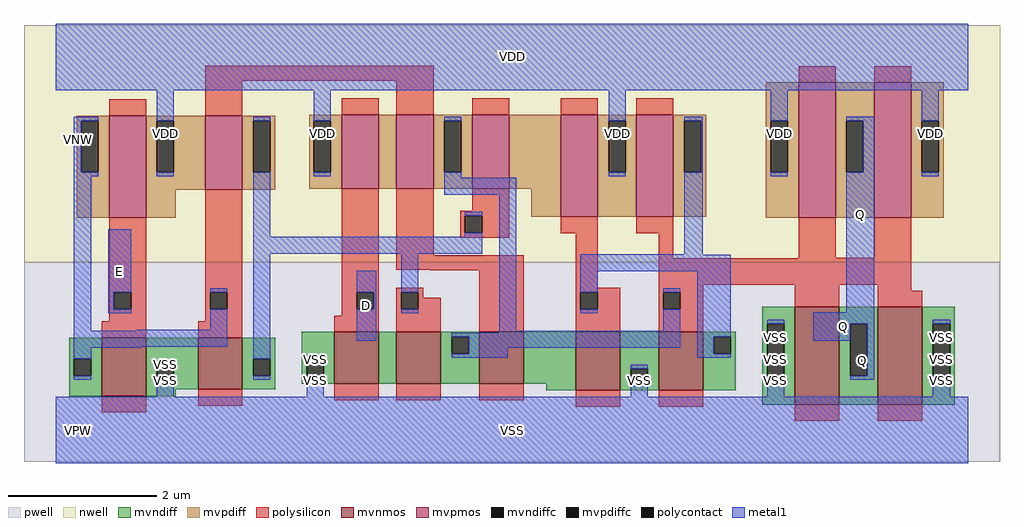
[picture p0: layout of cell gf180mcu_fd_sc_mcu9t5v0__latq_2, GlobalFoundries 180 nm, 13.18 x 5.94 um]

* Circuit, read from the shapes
.subckt gf180mcu_fd_sc_mcu9t5v0__latq_2 D E Q VDD VNW VPW VSS
XM1 VSS E n1 VPW nfet_06v0 w=0.79u l=0.6u
XM2 n2 n1 VSS VPW nfet_06v0 w=0.7u l=0.6u
XM3 n3 D VSS VPW nfet_06v0 w=0.7u l=0.6u
XM4 n4 n2 n3 VPW nfet_06v0 w=0.7u l=0.6u
XM5 n5 n1 n4 VPW nfet_06v0 w=0.7u l=0.6u
XM6 VSS n6 n5 VPW nfet_06v0 w=0.79u l=0.6u
XM7 n6 n4 VSS VPW nfet_06v0 w=0.79u l=0.6u
XM8 Q n4 VSS VPW nfet_06v0 w=1.32u l=0.6u m=2
XM9 VDD E n1 VNW pfet_06v0 w=1.38u l=0.5u
XM10 n2 n1 VDD VNW pfet_06v0 w=1u l=0.5u
XM11 n7 D VDD VNW pfet_06v0 w=1u l=0.5u
XM12 n4 n1 n7 VNW pfet_06v0 w=1u l=0.5u
XM13 n8 n2 n4 VNW pfet_06v0 w=1u l=0.5u
XM14 VDD n6 n8 VNW pfet_06v0 w=1.38u l=0.5u
XM15 n6 n4 VDD VNW pfet_06v0 w=1.38u l=0.5u
XM16 Q n4 VDD VNW pfet_06v0 w=1.83u l=0.5u m=2
.ends

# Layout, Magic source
magic
tech gf180mcuD
magscale 1 10
<< nwell >>
rect -86 453 2550 1094
<< pwell >>
rect -86 -86 2550 453
<< mvnmos >>
rect 124 92 244 250
rect 384 110 504 250
rect 752 125 872 265
rect 920 125 1040 265
rect 1144 125 1264 265
rect 1404 107 1524 265
rect 1628 107 1748 265
rect 1996 69 2116 333
rect 2220 69 2340 333
<< mvpmos >>
rect 144 573 244 849
rect 404 649 504 849
rect 772 652 872 852
rect 920 652 1020 852
rect 1124 652 1224 852
rect 1364 576 1464 852
rect 1568 576 1668 852
rect 2006 573 2106 939
rect 2210 573 2310 939
<< mvndiff >>
rect 1908 287 1996 333
rect 36 193 124 250
rect 36 147 49 193
rect 95 147 124 193
rect 36 92 124 147
rect 244 168 384 250
rect 244 122 273 168
rect 319 122 384 168
rect 244 110 384 122
rect 504 193 592 250
rect 504 147 533 193
rect 579 147 592 193
rect 504 110 592 147
rect 664 193 752 265
rect 664 147 677 193
rect 723 147 752 193
rect 664 125 752 147
rect 872 125 920 265
rect 1040 252 1144 265
rect 1040 206 1069 252
rect 1115 206 1144 252
rect 1040 125 1144 206
rect 1264 125 1404 265
rect 244 92 324 110
rect 1324 107 1404 125
rect 1524 166 1628 265
rect 1524 120 1553 166
rect 1599 120 1628 166
rect 1524 107 1628 120
rect 1748 252 1836 265
rect 1748 206 1777 252
rect 1823 206 1836 252
rect 1748 107 1836 206
rect 1908 147 1921 287
rect 1967 147 1996 287
rect 1908 69 1996 147
rect 2116 287 2220 333
rect 2116 147 2145 287
rect 2191 147 2220 287
rect 2116 69 2220 147
rect 2340 287 2428 333
rect 2340 147 2369 287
rect 2415 147 2428 287
rect 2340 69 2428 147
<< mvpdiff >>
rect 56 836 144 849
rect 56 696 69 836
rect 115 696 144 836
rect 56 573 144 696
rect 244 836 404 849
rect 244 696 273 836
rect 319 696 404 836
rect 244 649 404 696
rect 504 836 592 849
rect 504 696 533 836
rect 579 696 592 836
rect 504 649 592 696
rect 684 836 772 852
rect 684 696 697 836
rect 743 696 772 836
rect 684 652 772 696
rect 872 652 920 852
rect 1020 836 1124 852
rect 1020 696 1049 836
rect 1095 696 1124 836
rect 1020 652 1124 696
rect 1224 652 1364 852
rect 244 573 324 649
rect 1284 576 1364 652
rect 1464 836 1568 852
rect 1464 696 1493 836
rect 1539 696 1568 836
rect 1464 576 1568 696
rect 1668 836 1756 852
rect 1668 696 1697 836
rect 1743 696 1756 836
rect 1668 576 1756 696
rect 1918 836 2006 939
rect 1918 696 1931 836
rect 1977 696 2006 836
rect 1918 573 2006 696
rect 2106 836 2210 939
rect 2106 696 2135 836
rect 2181 696 2210 836
rect 2106 573 2210 696
rect 2310 836 2398 939
rect 2310 696 2339 836
rect 2385 696 2398 836
rect 2310 573 2398 696
<< mvndiffc >>
rect 49 147 95 193
rect 273 122 319 168
rect 533 147 579 193
rect 677 147 723 193
rect 1069 206 1115 252
rect 1553 120 1599 166
rect 1777 206 1823 252
rect 1921 147 1967 287
rect 2145 147 2191 287
rect 2369 147 2415 287
<< mvpdiffc >>
rect 69 696 115 836
rect 273 696 319 836
rect 533 696 579 836
rect 697 696 743 836
rect 1049 696 1095 836
rect 1493 696 1539 836
rect 1697 696 1743 836
rect 1931 696 1977 836
rect 2135 696 2181 836
rect 2339 696 2385 836
<< polysilicon >>
rect 404 944 1020 984
rect 144 849 244 893
rect 404 849 504 944
rect 772 852 872 896
rect 920 852 1020 944
rect 2006 939 2106 983
rect 2210 939 2310 983
rect 1124 852 1224 896
rect 1364 852 1464 896
rect 1568 852 1668 896
rect 144 372 244 573
rect 144 326 157 372
rect 203 326 244 372
rect 144 294 244 326
rect 404 372 504 649
rect 404 326 417 372
rect 463 326 504 372
rect 404 294 504 326
rect 772 372 872 652
rect 920 472 1020 652
rect 1124 592 1224 652
rect 1092 579 1224 592
rect 1092 533 1105 579
rect 1151 533 1224 579
rect 1092 520 1224 533
rect 1364 532 1464 576
rect 1568 532 1668 576
rect 920 433 1264 472
rect 1011 432 1264 433
rect 772 326 813 372
rect 859 326 872 372
rect 772 309 872 326
rect 124 250 244 294
rect 384 250 504 294
rect 752 265 872 309
rect 920 372 992 385
rect 920 326 933 372
rect 979 358 992 372
rect 979 326 1040 358
rect 920 265 1040 326
rect 1144 265 1264 432
rect 1404 385 1464 532
rect 1628 464 1668 532
rect 2006 465 2106 573
rect 2210 465 2310 573
rect 2006 464 2310 465
rect 1628 393 2310 464
rect 1404 372 1524 385
rect 1404 326 1417 372
rect 1463 326 1524 372
rect 1404 265 1524 326
rect 1628 372 1748 393
rect 1628 326 1641 372
rect 1687 326 1748 372
rect 1996 333 2116 393
rect 2220 377 2310 393
rect 2220 333 2340 377
rect 1628 265 1748 326
rect 124 48 244 92
rect 384 66 504 110
rect 752 81 872 125
rect 920 81 1040 125
rect 1144 81 1264 125
rect 1404 63 1524 107
rect 1628 63 1748 107
rect 1996 25 2116 69
rect 2220 25 2340 69
<< polycontact >>
rect 157 326 203 372
rect 417 326 463 372
rect 1105 533 1151 579
rect 813 326 859 372
rect 933 326 979 372
rect 1417 326 1463 372
rect 1641 326 1687 372
<< metal1 >>
rect 0 918 2464 1098
rect 49 836 115 847
rect 49 696 69 836
rect 49 685 115 696
rect 273 836 319 918
rect 273 685 319 696
rect 533 836 579 847
rect 49 269 95 685
rect 142 372 203 542
rect 533 522 579 696
rect 697 836 743 918
rect 697 685 743 696
rect 1049 836 1095 847
rect 1049 682 1095 696
rect 1493 836 1539 918
rect 1493 685 1539 696
rect 1697 836 1747 847
rect 1743 696 1747 836
rect 1049 636 1243 682
rect 1105 579 1151 590
rect 1105 522 1151 533
rect 533 476 1151 522
rect 142 326 157 372
rect 142 315 203 326
rect 417 372 463 383
rect 417 271 463 326
rect 217 269 463 271
rect 49 225 463 269
rect 49 223 231 225
rect 49 193 95 223
rect 533 193 579 476
rect 813 372 866 430
rect 859 326 866 372
rect 813 242 866 326
rect 933 372 979 476
rect 933 315 979 326
rect 1197 269 1243 636
rect 1697 475 1747 696
rect 1931 836 1977 918
rect 1931 685 1977 696
rect 2135 836 2210 847
rect 2181 696 2210 836
rect 1417 473 1747 475
rect 1417 429 1823 473
rect 1417 372 1463 429
rect 1417 315 1463 326
rect 1641 372 1687 383
rect 1641 269 1687 326
rect 1197 263 1687 269
rect 1069 252 1687 263
rect 1115 223 1687 252
rect 1733 252 1823 429
rect 2135 318 2210 696
rect 2339 836 2385 918
rect 2339 685 2385 696
rect 1115 206 1220 223
rect 49 136 95 147
rect 273 168 319 179
rect 533 136 579 147
rect 677 193 723 204
rect 1069 195 1220 206
rect 1733 206 1777 252
rect 1733 195 1823 206
rect 1921 287 1967 298
rect 273 90 319 122
rect 677 90 723 147
rect 1553 166 1599 177
rect 1553 90 1599 120
rect 2046 287 2210 318
rect 2046 242 2145 287
rect 1921 90 1967 147
rect 2191 147 2210 287
rect 2145 136 2210 147
rect 2369 287 2415 298
rect 2369 90 2415 147
rect 0 -90 2464 90
<< labels >>
flabel metal1 s 813 242 866 430 0 FreeSans 200 0 0 0 D
port 1 nsew default input
flabel metal1 s 142 315 203 542 0 FreeSans 200 0 0 0 E
port 2 nsew clock input
flabel metal1 s 2135 318 2210 847 0 FreeSans 200 0 0 0 Q
port 3 nsew default output
flabel metal1 s 0 918 2464 1098 0 FreeSans 200 0 0 0 VDD
port 4 nsew power bidirectional abutment
flabel metal1 s 2369 204 2415 298 0 FreeSans 200 0 0 0 VSS
port 7 nsew ground bidirectional abutment
flabel nwell s 10 734 110 834 0 FreeSans 400 0 0 0 VNW
port 5 nsew power bidirectional
flabel pwell s 10 -50 110 50 0 FreeSans 400 0 0 0 VPW
port 6 nsew ground bidirectional
rlabel metal1 s 2046 242 2210 318 1 Q
port 3 nsew default output
rlabel metal1 s 2145 136 2210 242 1 Q
port 3 nsew default output
rlabel metal1 s 2339 685 2385 918 1 VDD
port 4 nsew power bidirectional abutment
rlabel metal1 s 1931 685 1977 918 1 VDD
port 4 nsew power bidirectional abutment
rlabel metal1 s 1493 685 1539 918 1 VDD
port 4 nsew power bidirectional abutment
rlabel metal1 s 697 685 743 918 1 VDD
port 4 nsew power bidirectional abutment
rlabel metal1 s 273 685 319 918 1 VDD
port 4 nsew power bidirectional abutment
rlabel metal1 s 1921 204 1967 298 1 VSS
port 7 nsew ground bidirectional abutment
rlabel metal1 s 2369 179 2415 204 1 VSS
port 7 nsew ground bidirectional abutment
rlabel metal1 s 1921 179 1967 204 1 VSS
port 7 nsew ground bidirectional abutment
rlabel metal1 s 677 179 723 204 1 VSS
port 7 nsew ground bidirectional abutment
rlabel metal1 s 2369 177 2415 179 1 VSS
port 7 nsew ground bidirectional abutment
rlabel metal1 s 1921 177 1967 179 1 VSS
port 7 nsew ground bidirectional abutment
rlabel metal1 s 677 177 723 179 1 VSS
port 7 nsew ground bidirectional abutment
rlabel metal1 s 273 177 319 179 1 VSS
port 7 nsew ground bidirectional abutment
rlabel metal1 s 2369 90 2415 177 1 VSS
port 7 nsew ground bidirectional abutment
rlabel metal1 s 1921 90 1967 177 1 VSS
port 7 nsew ground bidirectional abutment
rlabel metal1 s 1553 90 1599 177 1 VSS
port 7 nsew ground bidirectional abutment
rlabel metal1 s 677 90 723 177 1 VSS
port 7 nsew ground bidirectional abutment
rlabel metal1 s 273 90 319 177 1 VSS
port 7 nsew ground bidirectional abutment
rlabel metal1 s 0 -90 2464 90 1 VSS
port 7 nsew ground bidirectional abutment
<< properties >>
string FIXED_BBOX 0 0 2464 1008
string GDS_END 995006
string GDS_FILE $PDKPATH/libs.ref/gf180mcu_fd_sc_mcu9t5v0/gds/gf180mcu_fd_sc_mcu9t5v0.gds
string GDS_START 988714
string LEFclass core
string LEFsite GF018hv5v_green_sc9
string LEFsymmetry X Y
<< end >>
